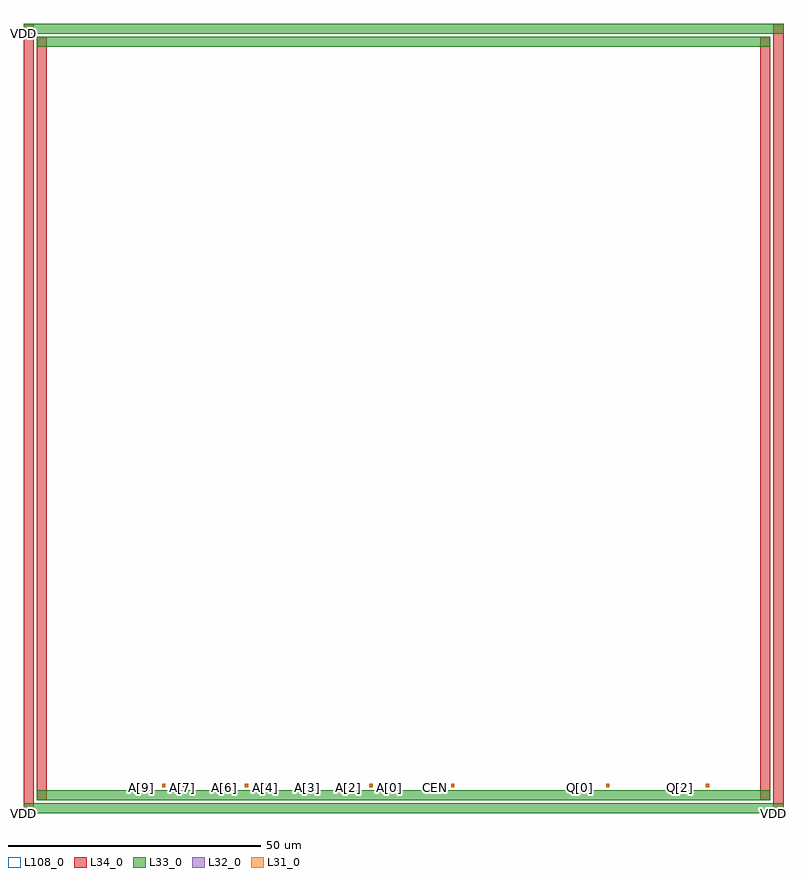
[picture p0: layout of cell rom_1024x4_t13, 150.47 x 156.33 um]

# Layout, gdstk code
import gdstk
lib = gdstk.Library(unit=1e-6, precision=1e-09)
def R(c, l, rs):  # rectangles x0, y0, x1, y1
    for r in rs: c.add(gdstk.rectangle(r[:2], r[2:], *l))
def A(c, l, x, y, w, h, nx, ny, dx, dy):  # array of equal rectangles
    R(c, l, [(x+i*dx, y+j*dy, x+i*dx+w, y+j*dy+h) for i in range(nx) for j in range(ny)])
L31_0 = (31, 0)
L32_0 = (32, 0)
L33_0 = (33, 0)
L34_0 = (34, 0)
L108_0 = (108, 0)

rom_1024x4_t13 = lib.new_cell('rom_1024x4_t13')
A(rom_1024x4_t13, L31_0, 23.34, 5.2, 0.66, 0.66, 3, 1, 4.1, 0)
A(rom_1024x4_t13, L31_0, 39.74, 5.2, 0.66, 0.66, 3, 1, 4.1, 0)
A(rom_1024x4_t13, L31_0, 64.34, 5.2, 0.66, 0.66, 3, 1, 4.1, 0)
R(rom_1024x4_t13, L31_0, [(56.14,5.2,56.8,5.86), (81.62,5.2,82.28,5.86), (84.655,5.2,85.315,5.86), (110.215,5.2,110.875,5.86), (115.335,5.2,115.995,5.86), (129.975,5.2,130.635,5.86), (135.095,5.2,135.755,5.86)])
A(rom_1024x4_t13, L32_0, 23.34, 5.2, 0.66, 0.66, 3, 1, 4.1, 0)
A(rom_1024x4_t13, L32_0, 39.74, 5.2, 0.66, 0.66, 3, 1, 4.1, 0)
A(rom_1024x4_t13, L32_0, 64.34, 5.2, 0.66, 0.66, 3, 1, 4.1, 0)
R(rom_1024x4_t13, L32_0, [(56.14,5.2,56.8,5.86), (81.62,5.2,82.28,5.86), (84.655,5.2,85.315,5.86), (110.215,5.2,110.875,5.86), (115.335,5.2,115.995,5.86), (129.975,5.2,130.635,5.86), (135.095,5.2,135.755,5.86)])
A(rom_1024x4_t13, L33_0, 23.34, 5.2, 0.66, 0.66, 3, 1, 4.1, 0)
A(rom_1024x4_t13, L33_0, 39.74, 5.2, 0.66, 0.66, 3, 1, 4.1, 0)
A(rom_1024x4_t13, L33_0, 64.34, 5.2, 0.66, 0.66, 3, 1, 4.1, 0)
R(rom_1024x4_t13, L33_0, [(0,0,150.465,2), (2.6,2.6,147.865,4.6), (56.14,5.2,56.8,5.86), (81.62,5.2,82.28,5.86), (84.655,5.2,85.315,5.86), (110.215,5.2,110.875,5.86), (115.335,5.2,115.995,5.86), (129.975,5.2,130.635,5.86), (135.095,5.2,135.755,5.86), (2.6,151.725,147.865,153.725), (0,154.325,150.465,156.325)])
A(rom_1024x4_t13, L34_0, 23.34, 5.2, 0.66, 0.66, 3, 1, 4.1, 0)
A(rom_1024x4_t13, L34_0, 39.74, 5.2, 0.66, 0.66, 3, 1, 4.1, 0)
A(rom_1024x4_t13, L34_0, 64.34, 5.2, 0.66, 0.66, 3, 1, 4.1, 0)
R(rom_1024x4_t13, L34_0, [(0,0,2,156.325), (148.465,0,150.465,156.325), (2.6,2.6,4.6,153.725), (145.865,2.6,147.865,153.725), (56.14,5.2,56.8,5.86), (81.62,5.2,82.28,5.86), (84.655,5.2,85.315,5.86), (110.215,5.2,110.875,5.86), (115.335,5.2,115.995,5.86), (129.975,5.2,130.635,5.86), (135.095,5.2,135.755,5.86)])
R(rom_1024x4_t13, L108_0, [(0,0,150.465,156.325)])
rom_1024x4_t13.add(gdstk.Label('A[0]', (72.54,5.2), layer=134, texttype=0))
rom_1024x4_t13.add(gdstk.Label('A[0]', (72.54,5.2), layer=133, texttype=0))
rom_1024x4_t13.add(gdstk.Label('A[0]', (72.54,5.2), layer=132, texttype=0))
rom_1024x4_t13.add(gdstk.Label('A[0]', (72.54,5.2), layer=131, texttype=0))
rom_1024x4_t13.add(gdstk.Label('A[1]', (68.44,5.2), layer=134, texttype=0))
rom_1024x4_t13.add(gdstk.Label('A[1]', (68.44,5.2), layer=133, texttype=0))
rom_1024x4_t13.add(gdstk.Label('A[1]', (68.44,5.2), layer=132, texttype=0))
rom_1024x4_t13.add(gdstk.Label('A[1]', (68.44,5.2), layer=131, texttype=0))
rom_1024x4_t13.add(gdstk.Label('A[2]', (64.34,5.2), layer=134, texttype=0))
rom_1024x4_t13.add(gdstk.Label('A[2]', (64.34,5.2), layer=133, texttype=0))
rom_1024x4_t13.add(gdstk.Label('A[2]', (64.34,5.2), layer=132, texttype=0))
rom_1024x4_t13.add(gdstk.Label('A[2]', (64.34,5.2), layer=131, texttype=0))
rom_1024x4_t13.add(gdstk.Label('A[3]', (56.14,5.2), layer=134, texttype=0))
rom_1024x4_t13.add(gdstk.Label('A[3]', (56.14,5.2), layer=133, texttype=0))
rom_1024x4_t13.add(gdstk.Label('A[3]', (56.14,5.2), layer=132, texttype=0))
rom_1024x4_t13.add(gdstk.Label('A[3]', (56.14,5.2), layer=131, texttype=0))
rom_1024x4_t13.add(gdstk.Label('A[4]', (47.94,5.2), layer=134, texttype=0))
rom_1024x4_t13.add(gdstk.Label('A[4]', (47.94,5.2), layer=133, texttype=0))
rom_1024x4_t13.add(gdstk.Label('A[4]', (47.94,5.2), layer=132, texttype=0))
rom_1024x4_t13.add(gdstk.Label('A[4]', (47.94,5.2), layer=131, texttype=0))
rom_1024x4_t13.add(gdstk.Label('A[5]', (43.84,5.2), layer=134, texttype=0))
rom_1024x4_t13.add(gdstk.Label('A[5]', (43.84,5.2), layer=133, texttype=0))
rom_1024x4_t13.add(gdstk.Label('A[5]', (43.84,5.2), layer=132, texttype=0))
rom_1024x4_t13.add(gdstk.Label('A[5]', (43.84,5.2), layer=131, texttype=0))
rom_1024x4_t13.add(gdstk.Label('A[6]', (39.74,5.2), layer=134, texttype=0))
rom_1024x4_t13.add(gdstk.Label('A[6]', (39.74,5.2), layer=133, texttype=0))
rom_1024x4_t13.add(gdstk.Label('A[6]', (39.74,5.2), layer=132, texttype=0))
rom_1024x4_t13.add(gdstk.Label('A[6]', (39.74,5.2), layer=131, texttype=0))
rom_1024x4_t13.add(gdstk.Label('A[7]', (31.54,5.2), layer=134, texttype=0))
rom_1024x4_t13.add(gdstk.Label('A[7]', (31.54,5.2), layer=133, texttype=0))
rom_1024x4_t13.add(gdstk.Label('A[7]', (31.54,5.2), layer=132, texttype=0))
rom_1024x4_t13.add(gdstk.Label('A[7]', (31.54,5.2), layer=131, texttype=0))
rom_1024x4_t13.add(gdstk.Label('A[8]', (27.44,5.2), layer=134, texttype=0))
rom_1024x4_t13.add(gdstk.Label('A[8]', (27.44,5.2), layer=133, texttype=0))
rom_1024x4_t13.add(gdstk.Label('A[8]', (27.44,5.2), layer=132, texttype=0))
rom_1024x4_t13.add(gdstk.Label('A[8]', (27.44,5.2), layer=131, texttype=0))
rom_1024x4_t13.add(gdstk.Label('A[9]', (23.34,5.2), layer=134, texttype=0))
rom_1024x4_t13.add(gdstk.Label('A[9]', (23.34,5.2), layer=133, texttype=0))
rom_1024x4_t13.add(gdstk.Label('A[9]', (23.34,5.2), layer=132, texttype=0))
rom_1024x4_t13.add(gdstk.Label('A[9]', (23.34,5.2), layer=131, texttype=0))
rom_1024x4_t13.add(gdstk.Label('CEN', (81.62,5.2), layer=134, texttype=0))
rom_1024x4_t13.add(gdstk.Label('CEN', (81.62,5.2), layer=133, texttype=0))
rom_1024x4_t13.add(gdstk.Label('CEN', (81.62,5.2), layer=132, texttype=0))
rom_1024x4_t13.add(gdstk.Label('CEN', (81.62,5.2), layer=131, texttype=0))
rom_1024x4_t13.add(gdstk.Label('CLK', (84.655,5.2), layer=134, texttype=0))
rom_1024x4_t13.add(gdstk.Label('CLK', (84.655,5.2), layer=133, texttype=0))
rom_1024x4_t13.add(gdstk.Label('CLK', (84.655,5.2), layer=132, texttype=0))
rom_1024x4_t13.add(gdstk.Label('CLK', (84.655,5.2), layer=131, texttype=0))
rom_1024x4_t13.add(gdstk.Label('Q[0]', (110.215,5.2), layer=134, texttype=0))
rom_1024x4_t13.add(gdstk.Label('Q[0]', (110.215,5.2), layer=133, texttype=0))
rom_1024x4_t13.add(gdstk.Label('Q[0]', (110.215,5.2), layer=132, texttype=0))
rom_1024x4_t13.add(gdstk.Label('Q[0]', (110.215,5.2), layer=131, texttype=0))
rom_1024x4_t13.add(gdstk.Label('Q[1]', (115.335,5.2), layer=134, texttype=0))
rom_1024x4_t13.add(gdstk.Label('Q[1]', (115.335,5.2), layer=133, texttype=0))
rom_1024x4_t13.add(gdstk.Label('Q[1]', (115.335,5.2), layer=132, texttype=0))
rom_1024x4_t13.add(gdstk.Label('Q[1]', (115.335,5.2), layer=131, texttype=0))
rom_1024x4_t13.add(gdstk.Label('Q[2]', (129.975,5.2), layer=134, texttype=0))
rom_1024x4_t13.add(gdstk.Label('Q[2]', (129.975,5.2), layer=133, texttype=0))
rom_1024x4_t13.add(gdstk.Label('Q[2]', (129.975,5.2), layer=132, texttype=0))
rom_1024x4_t13.add(gdstk.Label('Q[2]', (129.975,5.2), layer=131, texttype=0))
rom_1024x4_t13.add(gdstk.Label('Q[3]', (135.095,5.2), layer=134, texttype=0))
rom_1024x4_t13.add(gdstk.Label('Q[3]', (135.095,5.2), layer=133, texttype=0))
rom_1024x4_t13.add(gdstk.Label('Q[3]', (135.095,5.2), layer=132, texttype=0))
rom_1024x4_t13.add(gdstk.Label('Q[3]', (135.095,5.2), layer=131, texttype=0))
rom_1024x4_t13.add(gdstk.Label('VDD', (0,0), layer=134, texttype=0))
rom_1024x4_t13.add(gdstk.Label('VDD', (148.465,0), layer=134, texttype=0))
rom_1024x4_t13.add(gdstk.Label('VDD', (0,0), layer=133, texttype=0))
rom_1024x4_t13.add(gdstk.Label('VDD', (0,154.325), layer=133, texttype=0))
rom_1024x4_t13.add(gdstk.Label('VSS', (2.6,2.6), layer=134, texttype=0))
rom_1024x4_t13.add(gdstk.Label('VSS', (145.865,2.6), layer=134, texttype=0))
rom_1024x4_t13.add(gdstk.Label('VSS', (2.6,2.6), layer=133, texttype=0))
rom_1024x4_t13.add(gdstk.Label('VSS', (2.6,151.725), layer=133, texttype=0))

lib.write_gds('rom_1024x4_t13.gds')
